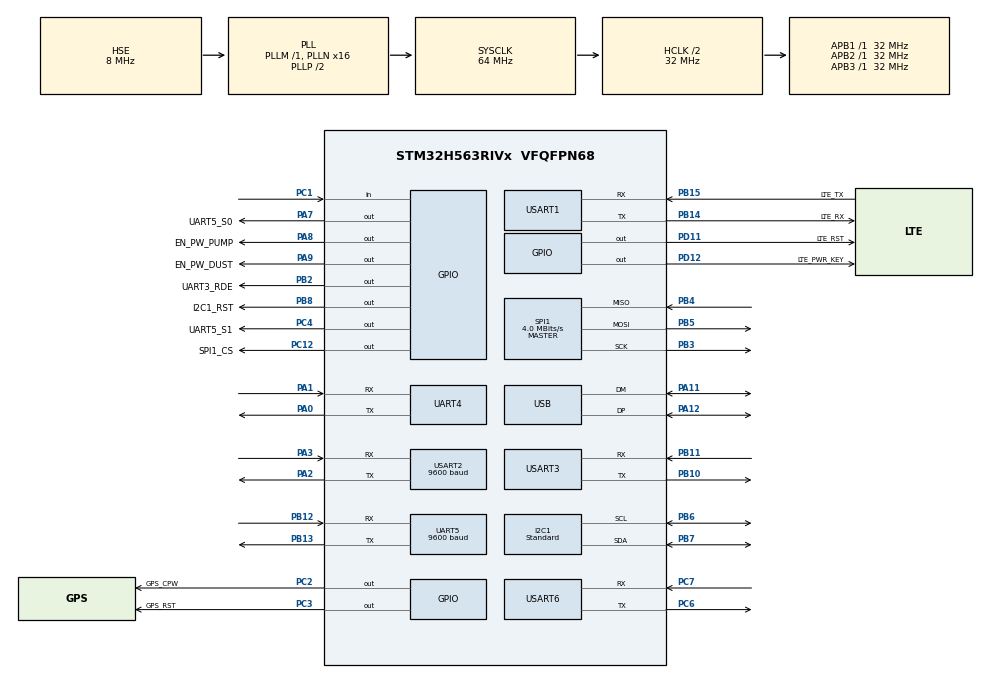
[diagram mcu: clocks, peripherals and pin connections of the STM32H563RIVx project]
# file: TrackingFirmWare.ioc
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BOOTPATH.BootPathName=LEGACY
BOOTPATH.UserSelectedBootPath=LEGACY
CORTEX_M33_NS.userName=CORTEX_M33
I2C1.I2C_Fall_Time=20
I2C1.I2C_Rise_Time=100
I2C1.I2C_Speed_Mode=I2C_Standard
I2C1.Timing=0x00B07CB7
IWDG.Prescaler=IWDG_PRESCALER_256
IWDG.Reload=3750
IWDG.Window=4095
Mcu.Family=STM32H5
Mcu.Name=STM32H563RIVx
Mcu.Package=VFQFPN68
NVIC.I2C1_ER_IRQn=true\:0\:0\:false\:false\:true\:true\:true\:true
NVIC.I2C1_EV_IRQn=true\:0\:0\:false\:false\:true\:true\:true\:true
NVIC.IWDG_IRQn=true\:0\:0\:false\:false\:true\:true\:true\:true
NVIC.LPTIM1_IRQn=true\:0\:0\:false\:false\:true\:true\:true\:true
NVIC.PriorityGroup=NVIC_PRIORITYGROUP_4
NVIC.RTC_IRQn=true\:4\:0\:true\:false\:true\:true\:true\:true
NVIC.TIM1_BRK_IRQn=true\:0\:0\:false\:false\:true\:true\:true\:true
NVIC.TIM1_CC_IRQn=true\:0\:0\:false\:false\:true\:true\:true\:true
NVIC.TIM1_TRG_COM_IRQn=true\:0\:0\:false\:false\:true\:true\:true\:true
NVIC.TIM1_UP_IRQn=true\:0\:0\:false\:false\:true\:true\:true\:true
NVIC.UART4_IRQn=true\:5\:0\:true\:false\:true\:true\:true\:true
NVIC.UART5_IRQn=true\:1\:0\:true\:false\:true\:true\:true\:true
NVIC.USART1_IRQn=true\:2\:0\:true\:false\:true\:true\:true\:true
NVIC.USART2_IRQn=true\:3\:0\:true\:false\:true\:true\:true\:true
NVIC.USART3_IRQn=true\:4\:0\:true\:false\:true\:true\:true\:true
NVIC.USART6_IRQn=true\:1\:0\:true\:false\:true\:true\:true\:true
NVIC.USB_DRD_FS_IRQn=true\:1\:0\:true\:false\:false\:true\:true\:true
PA0.Mode=Asynchronous
PA0.Signal=UART4_TX
PA1.Mode=Asynchronous
PA1.Signal=UART4_RX
PA11.Mode=Device
PA11.Signal=USB_DM
PA12.Mode=Device
PA12.Signal=USB_DP
PA13(JTMS/SWDIO).Mode=Serial_Wire
PA13(JTMS/SWDIO).Signal=DEBUG_JTMS-SWDIO
PA14(JTCK/SWCLK).Mode=Serial_Wire
PA14(JTCK/SWCLK).Signal=DEBUG_JTCK-SWCLK
PA2.Mode=Asynchronous
PA2.Signal=USART2_TX
PA3.Mode=Asynchronous
PA3.Signal=USART2_RX
PA7.GPIO_Label=UART5_S0
PA7.Signal=GPIO_Output
PA8.GPIO_Label=EN_PW_PUMP
PA8.GPIO_PuPd=GPIO_PULLDOWN
PA8.Signal=GPIO_Output
PA9.GPIO_Label=EN_PW_DUST
PA9.Signal=GPIO_Output
PB10.Mode=Asynchronous
PB10.Signal=USART3_TX
PB11.Mode=Asynchronous
PB11.Signal=USART3_RX
PB12.Mode=Asynchronous
PB12.Signal=UART5_RX
PB13.Mode=Asynchronous
PB13.Signal=UART5_TX
PB14.GPIO_Label=LTE_RX
PB14.GPIO_Speed=GPIO_SPEED_FREQ_HIGH
PB14.Mode=Asynchronous
PB14.Signal=USART1_TX
PB15.GPIO_Label=LTE_TX
PB15.GPIO_Speed=GPIO_SPEED_FREQ_HIGH
PB15.Mode=Asynchronous
PB15.Signal=USART1_RX
PB2.GPIO_Label=UART3_RDE
PB2.Signal=GPIO_Output
PB3(JTDO/TRACESWO).Mode=Full_Duplex_Master
PB3(JTDO/TRACESWO).Signal=SPI1_SCK
PB4(NJTRST).Mode=Full_Duplex_Master
PB4(NJTRST).Signal=SPI1_MISO
PB5.Mode=Full_Duplex_Master
PB5.Signal=SPI1_MOSI
PB6.Mode=I2C
PB6.Signal=I2C1_SCL
PB7.Mode=I2C
PB7.Signal=I2C1_SDA
PB8.GPIO_Label=I2C1_RST
PB8.Signal=GPIO_Output
PC1.Signal=GPIO_Input
PC12.GPIO_Label=SPI1_CS
PC12.Signal=GPIO_Output
PC2.GPIO_Label=GPS_CPW
PC2.Signal=GPIO_Output
PC3.GPIO_Label=GPS_RST
PC3.Signal=GPIO_Output
PC4.GPIO_Label=UART5_S1
PC4.Signal=GPIO_Output
PC6.Mode=Asynchronous
PC6.Signal=USART6_TX
PC7.Mode=Asynchronous
PC7.Signal=USART6_RX
PD11.GPIO_Label=LTE_RST
PD11.Signal=GPIO_Output
PD12.GPIO_Label=LTE_PWR_KEY
PD12.Signal=GPIO_Output
PH0-OSC_IN(PH0).Mode=HSE-External-Oscillator
PH0-OSC_IN(PH0).Signal=RCC_OSC_IN
PH1-OSC_OUT(PH1).Mode=HSE-External-Oscillator
PH1-OSC_OUT(PH1).Signal=RCC_OSC_OUT
ProjectManager.HeapSize=0x2000
ProjectManager.StackSize=0x2000
ProjectManager.TargetToolchain=Makefile
RCC.ADCFreq_Value=32000000
RCC.AHBCLKDivider=RCC_SYSCLK_DIV2
RCC.AHBFreq_Value=32000000
RCC.APB1Freq_Value=32000000
RCC.APB1TimFreq_Value=32000000
RCC.APB2Freq_Value=32000000
RCC.APB2TimFreq_Value=32000000
RCC.APB3Freq_Value=32000000
RCC.CSI_VALUE=4000000
RCC.CortexFreq_Value=32000000
RCC.EPOD_VALUE=8000000
RCC.HCLKFreq_Value=32000000
RCC.HSE_VALUE=8000000
RCC.HSI48_VALUE=48000000
RCC.HSI_VALUE=64000000
RCC.LSE_VALUE=32768
RCC.LSIRC_VALUE=32000
RCC.PLL2FRACN=0
RCC.PLL2N=125
RCC.PLL2P=4
RCC.PLL2Q=4
RCC.PLL2Source=RCC_PLL2_SOURCE_HSI
RCC.PLL3FRACN=0
RCC.PLL3N=75
RCC.PLL3P=4
RCC.PLL3Q=4
RCC.PLL3Source=RCC_PLL3_SOURCE_HSI
RCC.PLLFRACN=0
RCC.PLLN=16
RCC.PLLSourceVirtual=RCC_PLL1_SOURCE_HSE
RCC.SPI1CLockSelection=RCC_SPI1CLKSOURCE_CLKP
RCC.SYSCLKFreq_VALUE=64000000
RCC.SYSCLKSource=RCC_SYSCLKSOURCE_PLLCLK
RCC.USBFreq_Value=48000000
RCC.VCOOutputFreq_Value=128000000
RTC.SynchPrediv=249
RTC.WakeUpClock-WakeUp=RTC_WAKEUPCLOCK_CK_SPRE_16BITS
RTC.WakeUpCounter-WakeUp=1
SPI1.BaudRatePrescaler=SPI_BAUDRATEPRESCALER_8
SPI1.CalculateBaudRate=4.0 MBits/s
SPI1.DataSize=SPI_DATASIZE_8BIT
SPI1.Direction=SPI_DIRECTION_2LINES
SPI1.Mode=SPI_MODE_MASTER
SPI1.VirtualType=VM_MASTER
TIM1.PeriodNoDither=99
TIM1.Prescaler=31
UART5.BaudRate=9600
UART5.SwapParam=UART_ADVFEATURE_SWAP_ENABLE
USART1.DMADisableonRxErrorParam=ADVFEATURE_DMA_ENABLEONRXERROR
USART1.OverrunDisableParam=ADVFEATURE_OVERRUN_ENABLE
USART1.SwapParam=ADVFEATURE_SWAP_DISABLE
USART1.VirtualMode-Asynchronous=VM_ASYNC
USART2.BaudRate=9600
USART2.VirtualMode-Asynchronous=VM_ASYNC
USART3.SwapParam=ADVFEATURE_SWAP_DISABLE
USART3.VirtualMode-Asynchronous=VM_ASYNC
USART6.VirtualMode=VM_ASYNC
USB.VirtualMode=Device_Only
VP_BOOTPATH_VS_BOOTPATH.Mode=BP_Activate
VP_CORTEX_M33_NS_VS_Hclk.Mode=Hclk_Mode
VP_ICACHE_VS_ENABLE_ICACHE_MEMORY.Mode=Memoryregions
VP_IWDG_VS_IWDG.Mode=IWDG_Activate
VP_LPTIM1_VS_LPTIM_counterModeInternalClock.Mode=Counts__internal_clock_event_00
VP_MEMORYMAP_VS_MEMORYMAP.Mode=CurAppReg
VP_PWR_VS_LPOM.Mode=PowerOptimisation
VP_PWR_VS_SECSignals.Mode=Security/Privilege
VP_RTC_VS_RTC_Activate.Mode=RTC_Enabled
VP_RTC_VS_RTC_Calendar.Mode=RTC_Calendar
VP_RTC_VS_RTC_WakeUp_intern.Mode=WakeUp
VP_TIM1_VS_ClockSourceINT.Mode=Internal
board=custom

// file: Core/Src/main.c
/* USER CODE BEGIN Header */
/**
  ******************************************************************************
  * @file           : main.c
  * @brief          : Main program body
  ******************************************************************************
  * @attention
  *
  * Copyright (c) 2026 STMicroelectronics.
  * All rights reserved.
  *
  * This software is licensed under terms that can be found in the LICENSE file
  * in the root directory of this software component.
  * If no LICENSE file comes with this software, it is provided AS-IS.
  *
  ******************************************************************************
  */
/* USER CODE END Header */
#include "main.h"
#include "i2c.h"
#include "icache.h"
#include "iwdg.h"
#include "lptim.h"
#include "rtc.h"
#include "spi.h"
#include "tim.h"
#include "usart.h"
#include "usb.h"
#include "gpio.h"

/* USER CODE BEGIN Includes */
#include "app.h"
#define TEST        0
#include "sx_board.h"
#include "sx_ex_storage.h"
#include "logger.h"
#if TEST
#include "test_lte_mqtt.h"
#include "test_sht3x.h"
#include "test_rtc.h"
#include "test_imu.h"
#include "test_gps.h"
#include "test_exflash.h"
#include "test_ads1115.h"
#include "test_shell.h"
#include "test_sleep.h"
#include "test_sps30.h"
#include "test_ze12a.h"
#include "test_mux_select.h"
#endif

/* USER CODE END Includes */

void SystemClock_Config(void);
void PeriphCommonClock_Config(void);
/* USER CODE BEGIN PFP */
static void ensure_iwdg_frozen_in_stop_option_byte(void);
/* USER CODE END PFP */

/* USER CODE BEGIN 0 */

/* Ensures the FLASH_OPTR.IWDG_STOP option byte is set to "freeze" before
 * IWDG is ever started (MX_IWDG_Init(), called later in main()) --
 * without this, IWDG (LSI-clocked, ~30s timeout, see iwdg.c) keeps
 * counting straight through STOP mode, and since app.c's sleep cycle
 * parks the MCU in STOP for sleep_ms (e.g. 1800s), the device would
 * reset itself roughly every 30s while "asleep" -- entirely defeating
 * the point of a long sleep cycle. This is a one-time FLASH OPTION BYTE
 * (not a runtime register) -- it persists across power cycles and normal
 * reflashing, so on any board that already has it set correctly this
 * function reads the current value, sees it already matches, and returns
 * immediately without touching flash again. Only the very first boot on
 * a fresh/unprogrammed board (or one explicitly reset via mass erase)
 * actually performs the option byte write, and HAL_FLASH_OB_Launch()
 * below deliberately resets the MCU immediately to reload the new value
 * -- so on that first boot only, the board will appear to reset once
 * extra right after this call; every boot after that, this function is a
 * no-op. See "STM32L4 IWDG freeze in STOP mode" (ST community) for the
 * exact unlock/read-modify-write/launch sequence this mirrors, and the
 * common pitfall of forgetting HAL_FLASH_Unlock() before
 * HAL_FLASH_OB_Unlock() (the two locks are independent -- both are
 * required). Deliberately called before SystemClock_Config() in main()
 * (see the call site) so that if this does reset the MCU, it does so as
 * early and cheaply as possible rather than after clock/peripheral init
 * has already run. */
/* Diagnostic snapshot for ensure_iwdg_frozen_in_stop_option_byte() below --
 * captured here (before UART exists) and logged later, after
 * MX_USART1_UART_Init() has run, so we can actually SEE on the console
 * whether IWDG_STOP really reads back as FREEZE on this specific board,
 * instead of trusting the reset-count theory alone. g_iwdg_stop_ob_raw is
 * the raw bit-20-masked USERConfig value read on THIS boot, BEFORE any
 * write this function might perform; g_iwdg_stop_ob_was_already_frozen
 * records whether the early-return branch was taken (1) or the
 * write+OB_Launch path was taken (0, meaning this boot is about to reset
 * itself via HAL_FLASH_OB_Launch()). */
uint32_t g_iwdg_stop_ob_raw = 0xFFFFFFFFU;
uint8_t  g_iwdg_stop_ob_was_already_frozen = 0xFF;
/* Further diagnostics (2026-08-10, round 2): raw==0x00100000 (ACTIVE) on
 * EVERY boot, already_frozen_flag==0 on EVERY boot -- meaning the write
 * path below runs every single boot and NEVER successfully persists.
 * Since HAL_FLASH_OB_Launch() (which unconditionally self-resets on
 * success) never seems to "stick" either, capture exactly which step
 * failed so we stop guessing. 0xFF = step never reached this boot. */
uint8_t g_iwdg_ob_flash_unlock_status    = 0xFF;
uint8_t g_iwdg_ob_ob_unlock_status       = 0xFF;
uint8_t g_iwdg_ob_program_status         = 0xFF;
uint32_t g_iwdg_ob_program_flash_error   = 0xFFFFFFFFU;
uint8_t g_iwdg_ob_launch_status          = 0xFF;

static void ensure_iwdg_frozen_in_stop_option_byte(void)
{
    FLASH_OBProgramInitTypeDef ob_current = {0};
    HAL_FLASHEx_OBGetConfig(&ob_current);
    g_iwdg_stop_ob_raw = (ob_current.USERConfig & FLASH_OPTSR_IWDG_STOP);

    /* ob_current.USERConfig is a bitmask covering ALL user option bytes
     * (IWDG_SW, WWDG_SW, nRST_STOP, nRST_STANDBY, IWDG_STOP,
     * IWDG_STANDBY, ...), not just the one this function cares about --
     * see FLASH_OBProgramInitTypeDef's doc-comment in
     * stm32h5xx_hal_flash_ex.h. Checking OB_USER_IWDG_STOP's bit alone
     * (not comparing the whole USERConfig word) is what lets this
     * function safely leave every other option byte (nRST_STOP, IWDG_SW,
     * etc) exactly as some other part of the provisioning process set
     * them, rather than silently reverting them to whatever this
     * function's own OBInit struct would otherwise imply. */
    /* BUG FIX (2026-08-10): this check used to mask ob_current.USERConfig
     * with OB_USER_IWDG_STOP (0x100, bit 8) instead of
     * FLASH_OPTSR_IWDG_STOP (bit 20). OB_USER_IWDG_STOP is the HAL's
     * *field-selector* namespace used only for OBProgram()'s USERType
     * argument -- it does NOT match the bit position ob_current.USERConfig
     * actually uses, because HAL_FLASHEx_OBGetConfig() fills USERConfig
     * straight from the raw FLASH->OPTSR_CUR register (see
     * FLASH_OB_GetUser() in stm32h5xx_hal_flash_ex.c), which uses real
     * hardware bit positions (FLASH_OPTSR_IWDG_STOP = bit 20). Masking
     * with the wrong bit (8) read an unrelated, essentially-always-zero
     * bit, so this check almost always read as "already FREEZE" and
     * returned early -- meaning the option byte write below never
     * actually ran, IWDG_STOP stayed at its power-on-default ACTIVE, and
     * IWDG kept counting straight through STOP mode, resetting the board
     * ~30s into every sleep regardless of sleep_ms. Confirmed on real
     * hardware: board reset immediately after ">>> Entering STOP mode
     * NOW" instead of sleeping for the configured 1800s. */
    if ((ob_current.USERConfig & FLASH_OPTSR_IWDG_STOP) == OB_IWDG_STOP_FREEZE) {
        /* Already frozen-in-STOP -- normal case on every boot after the
         * very first one on a given board. Nothing to do. */
        g_iwdg_stop_ob_was_already_frozen = 1;
        return;
    }
    g_iwdg_stop_ob_was_already_frozen = 0;

    if (HAL_FLASH_Unlock() != HAL_OK) {
        /* Cannot safely proceed with an option byte write without this
         * unlock -- HAL_FLASHEx_OBProgram() below would fail anyway.
         * Falling through to boot normally rather than looping/hanging
         * here: IWDG will behave as if this feature doesn't exist (keeps
         * counting through STOP, ~30s resets during sleep) until this
         * function can succeed on some later boot -- safer than blocking
         * boot entirely over a flash-unlock failure. */
        g_iwdg_ob_flash_unlock_status = 1; /* fail */
        return;
    }
    g_iwdg_ob_flash_unlock_status = 0; /* ok */
    if (HAL_FLASH_OB_Unlock() != HAL_OK) {
        g_iwdg_ob_ob_unlock_status = 1; /* fail */
        HAL_FLASH_Lock();
        return;
    }
    g_iwdg_ob_ob_unlock_status = 0; /* ok */

    FLASH_OBProgramInitTypeDef ob_write = {0};
    ob_write.OptionType = OPTIONBYTE_USER;
    /* USERType restricts the write to ONLY the IWDG_STOP field -- see
     * the doc-comment above ob_current's check for why this matters
     * (every other user option byte field is left completely untouched
     * by this call, regardless of what value we put in USERConfig for
     * bits outside this field). */
    ob_write.USERType   = OB_USER_IWDG_STOP;
    ob_write.USERConfig = OB_IWDG_STOP_FREEZE;

    HAL_StatusTypeDef program_status = HAL_FLASHEx_OBProgram(&ob_write);
    g_iwdg_ob_program_status       = (program_status == HAL_OK) ? 0 : 1;
    g_iwdg_ob_program_flash_error  = HAL_FLASH_GetError();

    /* BUG FIX (2026-08-10, round 3): HAL_FLASH_OB_Launch() below must be
     * called BEFORE HAL_FLASH_OB_Lock()/HAL_FLASH_Lock(), not after.
     * HAL_FLASH_OB_Launch() (stm32h5xx_hal_flash.c) works by setting the
     * OPTSTRT bit in FLASH->OPTCR and waiting for the operation to
     * complete -- it does NOT reset the MCU on STM32H5 (unlike STM32L4,
     * which the original comment below was based on -- confirmed by
     * reading the actual H5 HAL source: no NVIC_SystemReset/similar
     * anywhere in the function body). Calling HAL_FLASH_OB_Lock() first
     * sets FLASH_OPTCR.OPTLOCK, which locks out further writes to OPTCR
     * -- so by the time OB_Launch() tried to SET_BIT(...OPTSTART) on the
     * old code path below, the register was already locked and the bit
     * silently failed to take effect. That fully explains round-2 DIAG's
     * symptom: HAL_FLASHEx_OBProgram() and (the then-too-late)
     * HAL_FLASH_OB_Launch() both reported HAL_OK / error=0, yet
     * IWDG_STOP read back ACTIVE on every subsequent boot -- the actual
     * hardware option-byte reload never ran. Moving Launch() before the
     * Lock() calls fixes the ordering; the still-open question is
     * whether STM32H5 needs an explicit reset after a successful OB
     * reload for FLASH_OPTR/OPTSR_CUR to reflect the new value on THIS
     * same boot, or whether it takes effect immediately -- the next DIAG
     * log run will show which. */
    if (program_status == HAL_OK) {
        HAL_StatusTypeDef launch_status = HAL_FLASH_OB_Launch();
        g_iwdg_ob_launch_status = (launch_status == HAL_OK) ? 0 : 1;
    }

    HAL_FLASH_OB_Lock();
    HAL_FLASH_Lock();

    if (program_status != HAL_OK) {
        /* Same reasoning as the unlock-failure branches above: leave
         * IWDG_STOP as whatever it currently is and continue booting
         * rather than blocking here. */
        return;
    }

    if (g_iwdg_ob_launch_status == 0) {
        /* Unlike STM32L4, HAL_FLASH_OB_Launch() on STM32H5 does NOT reset
         * the MCU itself -- it only sets OPTSTRT and waits for the
         * hardware option-byte reload to complete (see doc-comment above
         * the Launch() call site). Force the reset ourselves so
         * FLASH_OPTR/OPTSR_CUR is guaranteed to reflect the new value
         * from the very next boot, matching the original intent (and
         * this function's own early-return check above, which reads
         * ob_current fresh from OPTSR_CUR on every boot). */
        NVIC_SystemReset();
    }
}

/* USER CODE END 0 */

int main(void)
{

  /* MCU Configuration--------------------------------------------------------*/

  /* Reset of all peripherals, Initializes the Flash interface and the Systick. */
  HAL_Init();

  /* USER CODE BEGIN Init */
  ensure_iwdg_frozen_in_stop_option_byte();
  /* USER CODE END Init */

  /* Configure the system clock */
  SystemClock_Config();

  /* Configure the peripherals common clocks */
  PeriphCommonClock_Config();

  /* Initialize all configured peripherals */
  MX_GPIO_Init();
  MX_I2C1_Init();
  MX_SPI1_Init();
  MX_USART1_UART_Init();
  MX_USART2_UART_Init();
  MX_USART3_UART_Init();
  MX_ICACHE_Init();
  MX_LPTIM1_Init();
  MX_RTC_Init();
  MX_TIM1_Init();
  MX_UART4_Init();
  MX_UART5_Init();
  MX_USART6_UART_Init();
  MX_IWDG_Init();
  /* USER CODE BEGIN 2 */
  uint32_t last_tick = 0, last_ticks = 0;
  HAL_RTCEx_DeactivateWakeUpTimer(&hrtc);
  sx_board_init();

  /* DIAGNOSTIC (2026-08-10): confirm on real hardware whether the
   * FLASH_OPTR.IWDG_STOP option byte actually reads back as FREEZE after
   * ensure_iwdg_frozen_in_stop_option_byte() ran above -- board still
   * resets ~30s into STOP mode even after fixing that function's
   * bit-mask bug, so we need to SEE the real bit instead of trusting the
   * fix worked. g_iwdg_stop_ob_raw == 0 means FREEZE (bit 20 clear),
   * non-zero means ACTIVE (bit 20 set, i.e. IWDG still counts through
   * STOP -- would fully explain the ~30s resets independent of anything
   * else in the sleep path). g_iwdg_stop_ob_was_already_frozen == 0 means
   * THIS boot just wrote the option byte and is about to self-reset via
   * HAL_FLASH_OB_Launch() (so this log line won't be reached this boot --
   * check the NEXT boot's log instead in that case). Remove once the
   * ~30s-in-STOP reset is confirmed fixed. */
  log_info("DIAG", "IWDG_STOP option byte: raw=0x%08lX (0=FREEZE, nonzero=ACTIVE) already_frozen_flag=%u",
           (unsigned long)g_iwdg_stop_ob_raw, (unsigned)g_iwdg_stop_ob_was_already_frozen);
  log_info("DIAG", "IWDG_STOP OB write path: flash_unlock=%u(0=ok,1=fail,0xFF=skipped) ob_unlock=%u program=%u(0=ok,1=fail,0xFF=skipped) launch=%u(0=ok,1=fail,0xFF=skipped) flash_err=0x%08lX",
           (unsigned)g_iwdg_ob_flash_unlock_status,
           (unsigned)g_iwdg_ob_ob_unlock_status,
           (unsigned)g_iwdg_ob_program_status,
           (unsigned)g_iwdg_ob_launch_status,
           (unsigned long)g_iwdg_ob_program_flash_error);
  // sx_storage_factory_reset();
  #if TEST
  test_ze12a_init();
  // test_gps_init();
  // test_shell_init();

  #else
  app_init();
  #endif
  /* USER CODE END 2 */

  /* Infinite loop */
  while (1)
  {

    /* USER CODE BEGIN 3 */
    uint32_t now = HAL_GetTick();
    uint32_t noww = HAL_GetTick();
    uint32_t delta = now - last_tick;
    uint32_t theta = noww - last_ticks;

    if (delta > 0)
    {
        last_tick = now;

        #if TEST
        // test_gps_poll(delta);
        // test_shell_poll(delta);
        test_ze12a_poll(delta);
        #else
        app_process(delta);
        #endif
    }
  }
  /* USER CODE END 3 */
}

void SystemClock_Config(void)
{
  RCC_OscInitTypeDef RCC_OscInitStruct = {0};
  RCC_ClkInitTypeDef RCC_ClkInitStruct = {0};

  /** Configure the main internal regulator output voltage
  */
  __HAL_PWR_VOLTAGESCALING_CONFIG(PWR_REGULATOR_VOLTAGE_SCALE3);

  while(!__HAL_PWR_GET_FLAG(PWR_FLAG_VOSRDY)) {}

  /** Initializes the RCC Oscillators according to the specified parameters
  * in the RCC_OscInitTypeDef structure.
  */
  RCC_OscInitStruct.OscillatorType = RCC_OSCILLATORTYPE_HSI48|RCC_OSCILLATORTYPE_LSI
                              |RCC_OSCILLATORTYPE_HSE;
  RCC_OscInitStruct.HSEState = RCC_HSE_ON;
  RCC_OscInitStruct.LSIState = RCC_LSI_ON;
  RCC_OscInitStruct.HSI48State = RCC_HSI48_ON;
  RCC_OscInitStruct.PLL.PLLState = RCC_PLL_ON;
  RCC_OscInitStruct.PLL.PLLSource = RCC_PLL1_SOURCE_HSE;
  RCC_OscInitStruct.PLL.PLLM = 1;
  RCC_OscInitStruct.PLL.PLLN = 16;
  RCC_OscInitStruct.PLL.PLLP = 2;
  RCC_OscInitStruct.PLL.PLLQ = 2;
  RCC_OscInitStruct.PLL.PLLR = 2;
  RCC_OscInitStruct.PLL.PLLRGE = RCC_PLL1_VCIRANGE_3;
  RCC_OscInitStruct.PLL.PLLVCOSEL = RCC_PLL1_VCORANGE_WIDE;
  RCC_OscInitStruct.PLL.PLLFRACN = 0;
  if (HAL_RCC_OscConfig(&RCC_OscInitStruct) != HAL_OK)
  {
    Error_Handler();
  }

  /** Initializes the CPU, AHB and APB buses clocks
  */
  RCC_ClkInitStruct.ClockType = RCC_CLOCKTYPE_HCLK|RCC_CLOCKTYPE_SYSCLK
                              |RCC_CLOCKTYPE_PCLK1|RCC_CLOCKTYPE_PCLK2
                              |RCC_CLOCKTYPE_PCLK3;
  RCC_ClkInitStruct.SYSCLKSource = RCC_SYSCLKSOURCE_PLLCLK;
  RCC_ClkInitStruct.AHBCLKDivider = RCC_SYSCLK_DIV2;
  RCC_ClkInitStruct.APB1CLKDivider = RCC_HCLK_DIV1;
  RCC_ClkInitStruct.APB2CLKDivider = RCC_HCLK_DIV1;
  RCC_ClkInitStruct.APB3CLKDivider = RCC_HCLK_DIV1;

  if (HAL_RCC_ClockConfig(&RCC_ClkInitStruct, FLASH_LATENCY_3) != HAL_OK)
  {
    Error_Handler();
  }

  /** Configure the programming delay
  */
  __HAL_FLASH_SET_PROGRAM_DELAY(FLASH_PROGRAMMING_DELAY_1);
}

void PeriphCommonClock_Config(void)
{
  RCC_PeriphCLKInitTypeDef PeriphClkInitStruct = {0};

  /** Initializes the peripherals clock
  */
  PeriphClkInitStruct.PeriphClockSelection = RCC_PERIPHCLK_CKPER;
  PeriphClkInitStruct.CkperClockSelection = RCC_CLKPSOURCE_HSI;
  if (HAL_RCCEx_PeriphCLKConfig(&PeriphClkInitStruct) != HAL_OK)
  {
    Error_Handler();
  }
}

void Error_Handler(void)
{
  __disable_irq();
  while (1)
  {
  }
}
